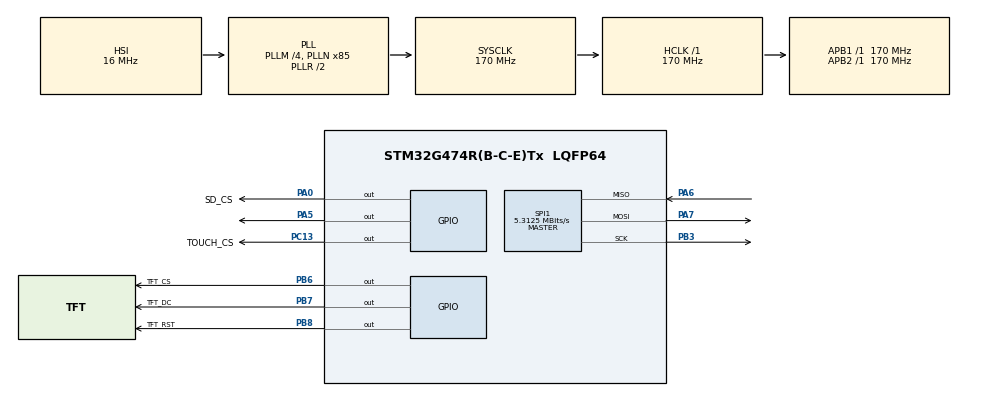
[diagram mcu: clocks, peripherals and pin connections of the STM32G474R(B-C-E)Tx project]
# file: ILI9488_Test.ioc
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Mcu.Family=STM32G4
Mcu.Name=STM32G474R(B-C-E)Tx
Mcu.Package=LQFP64
NUCLEO-G474RE.BUTTON=1
NUCLEO-G474RE.LD2=true
NUCLEO-G474RE.VCP=true
NVIC.EXTI15_10_IRQn=true\:0\:0\:false\:false\:true\:true\:true\:true
NVIC.PriorityGroup=NVIC_PRIORITYGROUP_4
PA0.GPIO_Label=SD_CS
PA0.Signal=GPIO_Output
PA13.GPIO_Label=T_SWDIO
PA13.Signal=SYS_JTMS-SWDIO
PA14.GPIO_Label=T_SWCLK
PA14.Signal=SYS_JTCK-SWCLK
PA2.Signal=LPUART1_TX
PA3.Signal=LPUART1_RX
PA5.Signal=GPIO_Output
PA6.Mode=Full_Duplex_Master
PA6.Signal=SPI1_MISO
PA7.Mode=Full_Duplex_Master
PA7.Signal=SPI1_MOSI
PB3.Mode=Full_Duplex_Master
PB3.Signal=SPI1_SCK
PB6.GPIO_Label=TFT_CS
PB6.GPIO_Speed=GPIO_SPEED_FREQ_HIGH
PB6.Signal=GPIO_Output
PB7.GPIO_Label=TFT_DC
PB7.GPIO_Speed=GPIO_SPEED_FREQ_HIGH
PB7.Signal=GPIO_Output
PB8-BOOT0.GPIO_Label=TFT_RST
PB8-BOOT0.Signal=GPIO_Output
PC13.GPIO_Label=TOUCH_CS
PC13.Signal=GPIO_Output
PC14-OSC32_IN.GPIO_Label=RCC_OSC32_IN
PC14-OSC32_IN.Signal=RCC_OSC32_IN
PC15-OSC32_OUT.GPIO_Label=RCC_OSC32_OUT
PC15-OSC32_OUT.Signal=RCC_OSC32_OUT
PF0-OSC_IN.GPIO_Label=RCC_OSC_IN
PF0-OSC_IN.Signal=RCC_OSC_IN
PF1-OSC_OUT.GPIO_Label=RCC_OSC_OUT
PF1-OSC_OUT.Signal=RCC_OSC_OUT
ProjectManager.HeapSize=0x200
ProjectManager.StackSize=0x400
ProjectManager.TargetToolchain=STM32CubeIDE
RCC.ADC12Freq_Value=170000000
RCC.ADC345Freq_Value=170000000
RCC.AHBFreq_Value=170000000
RCC.APB1Freq_Value=170000000
RCC.APB1TimFreq_Value=170000000
RCC.APB2Freq_Value=170000000
RCC.APB2TimFreq_Value=170000000
RCC.CortexFreq_Value=170000000
RCC.EXTERNAL_CLOCK_VALUE=12288000
RCC.HCLKFreq_Value=170000000
RCC.HSE_VALUE=24000000
RCC.HSI48_VALUE=48000000
RCC.HSI_VALUE=16000000
RCC.LSE_VALUE=32768
RCC.PLLM=RCC_PLLM_DIV4
RCC.PLLN=85
RCC.RTCClockSelection=RCC_RTCCLKSOURCE_LSE
RCC.SYSCLKFreq_VALUE=170000000
RCC.SYSCLKSource=RCC_SYSCLKSOURCE_PLLCLK
RCC.USBFreq_Value=170000000
RCC.VCOOutputFreq_Value=340000000
SPI1.BaudRatePrescaler=SPI_BAUDRATEPRESCALER_32
SPI1.CalculateBaudRate=5.3125 MBits/s
SPI1.DataSize=SPI_DATASIZE_8BIT
SPI1.Direction=SPI_DIRECTION_2LINES
SPI1.Mode=SPI_MODE_MASTER
SPI1.VirtualType=VM_MASTER
VP_NUCLEO-G474RE_VS_BSP_COMMON.Mode=COMMON
VP_SYS_VS_DBSignals.Mode=DisableDeadBatterySignals
board=NUCLEO-G474RE

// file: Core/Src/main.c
/* USER CODE BEGIN Header */
/**
  ******************************************************************************
  * @file           : main.c
  * @brief          : Main program body
  ******************************************************************************
  * @attention
  *
  * Copyright (c) 2026 STMicroelectronics.
  * All rights reserved.
  *
  * This software is licensed under terms that can be found in the LICENSE file
  * in the root directory of this software component.
  * If no LICENSE file comes with this software, it is provided AS-IS.
  *
  ******************************************************************************
  */
/* USER CODE END Header */
#include "main.h"
#include "font.h"

COM_InitTypeDef BspCOMInit;
SPI_HandleTypeDef hspi1;

void SystemClock_Config(void);
static void MX_GPIO_Init(void);
static void MX_SPI1_Init(void);

int main(void)
{

  /* USER CODE BEGIN 1 */
	uint8_t estado_pantalla = 0;         // 0 = Fondo Rojo, 1 = Barras de color
	uint8_t actualizar_pantalla = 1;     // 1 = Fuerza a dibujar la primera vez al encender
	//uint8_t estado_boton_anterior = 1;   // Asumimos que el botón usa Pull-up (1 = sin pulsar)
/* USER CODE END 1 */

  /* MCU Configuration--------------------------------------------------------*/

  /* Reset of all peripherals, Initializes the Flash interface and the Systick. */
  HAL_Init();

  /* Configure the system clock */
  SystemClock_Config();

  /* Initialize all configured peripherals */
  MX_GPIO_Init();
  MX_SPI1_Init();

  /* Initialize led */
  BSP_LED_Init(LED_GREEN);

  /* Initialize USER push-button, will be used to trigger an interrupt each time it's pressed.*/
  BSP_PB_Init(BUTTON_USER, BUTTON_MODE_EXTI);

  /* Initialize COM1 port (115200, 8 bits (7-bit data + 1 stop bit), no parity */
  BspCOMInit.BaudRate   = 115200;
  BspCOMInit.WordLength = COM_WORDLENGTH_8B;
  BspCOMInit.StopBits   = COM_STOPBITS_1;
  BspCOMInit.Parity     = COM_PARITY_NONE;
  BspCOMInit.HwFlowCtl  = COM_HWCONTROL_NONE;
  if (BSP_COM_Init(COM1, &BspCOMInit) != BSP_ERROR_NONE)
  {
    Error_Handler();
  }

    HAL_GPIO_WritePin(SD_CS_GPIO_Port, SD_CS_Pin, GPIO_PIN_SET);
    HAL_GPIO_WritePin(TOUCH_CS_GPIO_Port, TOUCH_CS_Pin, GPIO_PIN_SET);

    // Ejecutando ILI9488_Init para la inicalizacion
    ILI9488_Init();
    botton_init();
    // 2. Dibujar el logo del Club Helios (Ajusta la X y la Y si hace falta centrarlo más)
    ILI9488_DrawImage(0, 0, 480, 320, club_helios_565);

    HAL_Delay(3000);

	  // Variables de simulación para la prueba
	        int velocidad_falsa = 60;
	        uint8_t modo_eco = 1;
	        int bateria_falsa = 100;
	        int temp_falsa = 70;
	        int pre_falsa = 2;
	        // -- NUEVOS SENSORES --
	        int rpm_falsas = 2000;
	        float volt_falso = 52.4; // Tensión batería
	        float amp_falso = 12.5;  // Consumo corriente
	        int eta_horas = 3;       // Tiempo restante estimado
	        int eta_minutos = 45;
			//Variables genericas
			uint8_t boton_anterior = 0;
			uint32_t ultimo_tiempo = 0;
			uint32_t puntos_juego = 0;
			uint8_t pulso_limpio = 0;
			int neumatico_seleccionado = 1;

  /* Infinite loop */
  while (1)
  {

    /* USER CODE BEGIN 3 */
	  // ================================================================
	        // 1. LEER BOTONES A MÁXIMA VELOCIDAD (Millones de veces por segundo)
	        // ================================================================
	        uint8_t boton_actual = Leer_Botones();
	        pulso_limpio = 0;

	        if (boton_actual != 0 && boton_anterior == 0) {
	             pulso_limpio = boton_actual; // ¡Detectada una pulsación nueva!

	             // --- NAVEGACIÓN ENTRE PANTALLAS ---
	             if (pulso_limpio == 1) {
	                 // Botón 1 (PA1): Alterna Telemetría y Reglamento
	                 if (estado_pantalla == 0) estado_pantalla = 1;
	                 else if(estado_pantalla == 1 || estado_pantalla == 2) estado_pantalla = 0;
	                 actualizar_pantalla = 1;
	             }
	             else if (pulso_limpio == 4 && estado_pantalla == 0) {
	                 // Botón 4 (PB5): Si estamos en Telemetría, ENTRAR AL JUEGO
	                 estado_pantalla = 2;
	                 actualizar_pantalla = 1;
	             }
	             else if (pulso_limpio == 14 && estado_pantalla == 2) {
	                 // Botón 14 (PC9 - Extremo Derecho): BOTÓN DE PÁNICO. Salir del juego a la fuerza.
	                 estado_pantalla = 0;
	                 actualizar_pantalla = 1;
	             }

	             // --- ACCIONES DE TELEMETRÍA (Solo funcionan si vemos el Dashboard) ---
	             else if (estado_pantalla == 0) {
	                 switch (pulso_limpio) {
	                     case 2: // Botón 2 (PA4): Modo ECO / RACE
	                         if (modo_eco == 1) { modo_eco = 0; } else { modo_eco = 1; }
	                         break;
	                     case 3: // Botón 3 (PA5): Resetear reloj
	                         eta_horas = 3; eta_minutos = 0;
	                         break;
	                     // Aquí puedes añadir del case 5 al 14 para encender luces, bomba de agua, etc.
						   case 5:  // Botón 5 (PC0) cambia de rueda 1 -> 2 -> 3 -> 1...
							   neumatico_seleccionado++;
							   if (neumatico_seleccionado > 3) {
								   neumatico_seleccionado = 1;
							   }

							   // Borramos SOLO el cuadradito donde pone "PRS1:" (Fondo negro)
								   ILI9488_FillRect(325, 220, 65, 20, 0, 0, 0);

								   // Escribimos el nuevo texto de la rueda
								   if (neumatico_seleccionado == 1) ILI9488_DrawString(325, 220, "PRS1:", 180, 180, 180, 0, 0, 0, 2);
								   else if (neumatico_seleccionado == 2) ILI9488_DrawString(325, 220, "PRS2:", 180, 180, 180, 0, 0, 0, 2);
								   else ILI9488_DrawString(325, 220, "PRS3:", 180, 180, 180, 0, 0, 0, 2);

								   // Forzamos que se repinten los números de la telemetría (enviando el 1 al final)
								   Helios_UpdateTelemetry(velocidad_falsa, bateria_falsa, modo_eco,
														  temp_falsa, pre_falsa, rpm_falsas,
														  volt_falso, amp_falso, eta_horas, eta_minutos, 1);

							   // Levantamos bandera para que se repinte el fondo
							   //actualizar_pantalla = 1;
							   break;
	                 }
	             }
	         }
	         boton_anterior = boton_actual;

	         // ================================================================
	         // 2. DIBUJO ESTÁTICO DE PANTALLAS (Solo cuando se cambia)
	         // ================================================================
	         if (actualizar_pantalla == 1) {
	             if (estado_pantalla == 0) {
	                 Helios_DrawDashboard_Static(neumatico_seleccionado);
	                 // Forzamos el 1 al final para repintar la telemetría al volver
	                 Helios_UpdateTelemetry(velocidad_falsa, bateria_falsa, modo_eco,
	                                        temp_falsa, pre_falsa, rpm_falsas,
	                                        volt_falso, amp_falso, eta_horas, eta_minutos, 1);
	             } else if (estado_pantalla == 1) {
	                 Helios_DrawRules_Static();
	             } else if (estado_pantalla == 2) {
	                 Helios_DrawGame_Static();
	                 puntos_juego = 0; // El juego empieza con 0 puntos
	                 Helios_RunGame(0, &puntos_juego, 1);
	                 }
	             actualizar_pantalla = 0; // Bajamos la bandera
	         }

	         // ================================================================
	         // 3. EJECUCIÓN DEL JUEGO (Alta Frecuencia)
	         // ================================================================
	         if (estado_pantalla == 2) {
	             // El juego recibe el pulso_limpio para saber si el público ha pulsado los botones 1, 2, 3 o 4
	             Helios_RunGame(pulso_limpio, &puntos_juego, 0);
	         }

	         // ================================================================
	         // 4. CÁLCULO DE FÍSICAS (Solo cada 500ms)
	         // ================================================================
	         if (HAL_GetTick() - ultimo_tiempo >= 500) {

	             ultimo_tiempo = HAL_GetTick(); // Reiniciar cronómetro

	             // Simular físicas del coche (sigue pasando aunque estemos jugando)
	             velocidad_falsa++;
	             if (velocidad_falsa > 99) velocidad_falsa = 40;
	             rpm_falsas = velocidad_falsa * 60;

	             if (velocidad_falsa % 2 == 0) {
	                 bateria_falsa--; volt_falso -= 0.1;
	                 if (bateria_falsa < 0) { bateria_falsa = 100; volt_falso = 54.0; }
	             }
	             amp_falso = 10.0 + (velocidad_falsa / 10.0);

	             temp_falsa++;
	             if (temp_falsa > 85) temp_falsa = 70;

	             eta_minutos--;
	             if (eta_minutos < 0) {
	                 eta_minutos = 59; eta_horas--;
	                 if (eta_horas < 0) eta_horas = 3;
	             }

	             // Pintar métricas solo si estamos viendo el Dashboard
	             if (estado_pantalla == 0 && actualizar_pantalla == 0) {
	                 // Le pasamos 0 al final (anti-flickering activado)
	                 Helios_UpdateTelemetry(velocidad_falsa, bateria_falsa, modo_eco,
	                                        temp_falsa, pre_falsa, rpm_falsas,
	                                        volt_falso, amp_falso, eta_horas, eta_minutos, 0);
	             }
	         }
  }
  /* USER CODE END 3 */
}

void SystemClock_Config(void)
{
  RCC_OscInitTypeDef RCC_OscInitStruct = {0};
  RCC_ClkInitTypeDef RCC_ClkInitStruct = {0};

  /** Configure the main internal regulator output voltage
  */
  HAL_PWREx_ControlVoltageScaling(PWR_REGULATOR_VOLTAGE_SCALE1_BOOST);

  /** Initializes the RCC Oscillators according to the specified parameters
  * in the RCC_OscInitTypeDef structure.
  */
  RCC_OscInitStruct.OscillatorType = RCC_OSCILLATORTYPE_HSI;
  RCC_OscInitStruct.HSIState = RCC_HSI_ON;
  RCC_OscInitStruct.HSICalibrationValue = RCC_HSICALIBRATION_DEFAULT;
  RCC_OscInitStruct.PLL.PLLState = RCC_PLL_ON;
  RCC_OscInitStruct.PLL.PLLSource = RCC_PLLSOURCE_HSI;
  RCC_OscInitStruct.PLL.PLLM = RCC_PLLM_DIV4;
  RCC_OscInitStruct.PLL.PLLN = 85;
  RCC_OscInitStruct.PLL.PLLP = RCC_PLLP_DIV2;
  RCC_OscInitStruct.PLL.PLLQ = RCC_PLLQ_DIV2;
  RCC_OscInitStruct.PLL.PLLR = RCC_PLLR_DIV2;
  if (HAL_RCC_OscConfig(&RCC_OscInitStruct) != HAL_OK)
  {
    Error_Handler();
  }

  /** Initializes the CPU, AHB and APB buses clocks
  */
  RCC_ClkInitStruct.ClockType = RCC_CLOCKTYPE_HCLK|RCC_CLOCKTYPE_SYSCLK
                              |RCC_CLOCKTYPE_PCLK1|RCC_CLOCKTYPE_PCLK2;
  RCC_ClkInitStruct.SYSCLKSource = RCC_SYSCLKSOURCE_PLLCLK;
  RCC_ClkInitStruct.AHBCLKDivider = RCC_SYSCLK_DIV1;
  RCC_ClkInitStruct.APB1CLKDivider = RCC_HCLK_DIV1;
  RCC_ClkInitStruct.APB2CLKDivider = RCC_HCLK_DIV1;

  if (HAL_RCC_ClockConfig(&RCC_ClkInitStruct, FLASH_LATENCY_4) != HAL_OK)
  {
    Error_Handler();
  }
}

static void MX_SPI1_Init(void)
{

  /* SPI1 parameter configuration*/
  hspi1.Instance = SPI1;
  hspi1.Init.Mode = SPI_MODE_MASTER;
  hspi1.Init.Direction = SPI_DIRECTION_2LINES;
  hspi1.Init.DataSize = SPI_DATASIZE_8BIT;
  hspi1.Init.CLKPolarity = SPI_POLARITY_LOW;
  hspi1.Init.CLKPhase = SPI_PHASE_1EDGE;
  hspi1.Init.NSS = SPI_NSS_SOFT;
  hspi1.Init.BaudRatePrescaler = SPI_BAUDRATEPRESCALER_32;
  hspi1.Init.FirstBit = SPI_FIRSTBIT_MSB;
  hspi1.Init.TIMode = SPI_TIMODE_DISABLE;
  hspi1.Init.CRCCalculation = SPI_CRCCALCULATION_DISABLE;
  hspi1.Init.CRCPolynomial = 7;
  hspi1.Init.CRCLength = SPI_CRC_LENGTH_DATASIZE;
  hspi1.Init.NSSPMode = SPI_NSS_PULSE_ENABLE;
  if (HAL_SPI_Init(&hspi1) != HAL_OK)
  {
    Error_Handler();
  }

}

static void MX_GPIO_Init(void)
{
  GPIO_InitTypeDef GPIO_InitStruct = {0};

  /* GPIO Ports Clock Enable */
  __HAL_RCC_GPIOC_CLK_ENABLE();
  __HAL_RCC_GPIOF_CLK_ENABLE();
  __HAL_RCC_GPIOA_CLK_ENABLE();
  __HAL_RCC_GPIOB_CLK_ENABLE();

  /*Configure GPIO pin Output Level */
  HAL_GPIO_WritePin(TOUCH_CS_GPIO_Port, TOUCH_CS_Pin, GPIO_PIN_RESET);

  /*Configure GPIO pin Output Level */
  HAL_GPIO_WritePin(SD_CS_GPIO_Port, SD_CS_Pin, GPIO_PIN_RESET);

  /*Configure GPIO pin Output Level */
  HAL_GPIO_WritePin(GPIOB, TFT_CS_Pin|TFT_DC_Pin|TFT_RST_Pin, GPIO_PIN_RESET);

  /*Configure GPIO pin : TOUCH_CS_Pin */
  GPIO_InitStruct.Pin = TOUCH_CS_Pin;
  GPIO_InitStruct.Mode = GPIO_MODE_OUTPUT_PP;
  GPIO_InitStruct.Pull = GPIO_NOPULL;
  GPIO_InitStruct.Speed = GPIO_SPEED_FREQ_LOW;
  HAL_GPIO_Init(TOUCH_CS_GPIO_Port, &GPIO_InitStruct);

  /*Configure GPIO pin : SD_CS_Pin */
  GPIO_InitStruct.Pin = SD_CS_Pin;
  GPIO_InitStruct.Mode = GPIO_MODE_OUTPUT_PP;
  GPIO_InitStruct.Pull = GPIO_NOPULL;
  GPIO_InitStruct.Speed = GPIO_SPEED_FREQ_LOW;
  HAL_GPIO_Init(SD_CS_GPIO_Port, &GPIO_InitStruct);

  /*Configure GPIO pins : TFT_CS_Pin TFT_DC_Pin */
  GPIO_InitStruct.Pin = TFT_CS_Pin|TFT_DC_Pin;
  GPIO_InitStruct.Mode = GPIO_MODE_OUTPUT_PP;
  GPIO_InitStruct.Pull = GPIO_NOPULL;
  GPIO_InitStruct.Speed = GPIO_SPEED_FREQ_HIGH;
  HAL_GPIO_Init(GPIOB, &GPIO_InitStruct);

  /*Configure GPIO pin : TFT_RST_Pin */
  GPIO_InitStruct.Pin = TFT_RST_Pin;
  GPIO_InitStruct.Mode = GPIO_MODE_OUTPUT_PP;
  GPIO_InitStruct.Pull = GPIO_NOPULL;
  GPIO_InitStruct.Speed = GPIO_SPEED_FREQ_LOW;
  HAL_GPIO_Init(TFT_RST_GPIO_Port, &GPIO_InitStruct);

}

void Error_Handler(void)
{
  __disable_irq();
  while (1)
  {
  }
}
